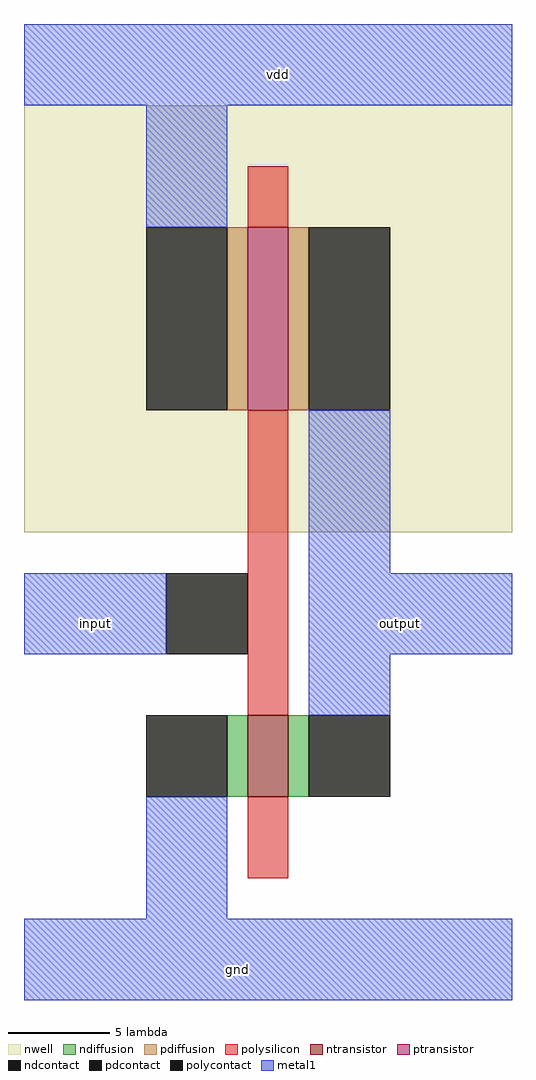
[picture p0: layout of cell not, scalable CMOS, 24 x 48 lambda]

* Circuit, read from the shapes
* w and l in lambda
.subckt not gnd input output vdd
M1 output input gnd VSUBS nfet w=4 l=2
M2 output input vdd n1 pfet w=9 l=2
.ends

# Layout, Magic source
magic
tech scmos
<< nwell >>
rect -15 -2 9 19
<< ntransistor >>
rect -4 -15 -2 -11
<< ptransistor >>
rect -4 4 -2 13
<< ndiffusion >>
rect -5 -15 -4 -11
rect -2 -15 -1 -11
<< pdiffusion >>
rect -5 4 -4 13
rect -2 4 -1 13
<< ndcontact >>
rect -9 -15 -5 -11
rect -1 -15 3 -11
<< pdcontact >>
rect -9 4 -5 13
rect -1 4 3 13
<< polysilicon >>
rect -4 13 -2 16
rect -4 -11 -2 4
rect -4 -19 -2 -15
<< polycontact >>
rect -8 -8 -4 -4
<< metal1 >>
rect -15 19 9 23
rect -9 13 -5 19
rect -1 -4 3 4
rect -15 -8 -8 -4
rect -1 -8 9 -4
rect -1 -11 3 -8
rect -9 -21 -5 -15
rect -15 -25 9 -21
<< labels >>
rlabel metal1 -3 20 -2 21 5 vdd
rlabel metal1 -12 -7 -11 -6 3 input
rlabel metal1 3 -7 4 -6 1 output
rlabel metal1 -5 -24 -4 -23 1 gnd
<< end >>
